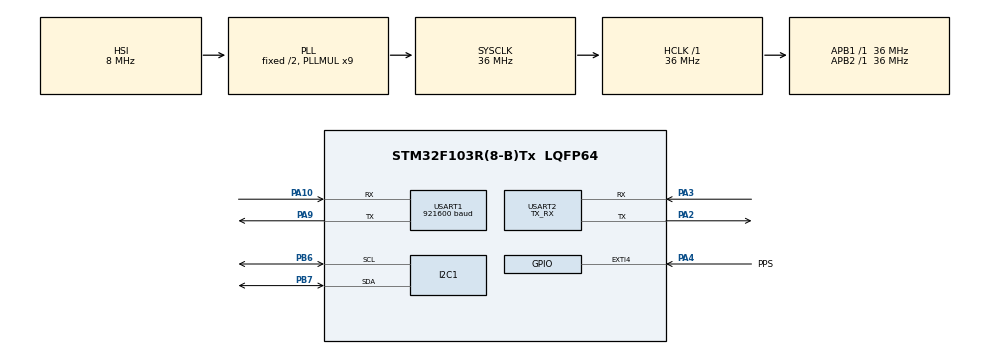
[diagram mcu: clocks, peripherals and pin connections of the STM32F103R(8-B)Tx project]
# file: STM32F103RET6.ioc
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I2C1.I2C_Mode=I2C_Fast
Mcu.Family=STM32F1
Mcu.Name=STM32F103R(8-B)Tx
Mcu.Package=LQFP64
NVIC.EXTI4_IRQn=true\:0\:0\:false\:false\:true\:true\:true\:true
NVIC.I2C1_EV_IRQn=true\:0\:0\:false\:false\:true\:true\:true\:true
NVIC.PriorityGroup=NVIC_PRIORITYGROUP_4
NVIC.USART2_IRQn=true\:0\:0\:false\:false\:true\:true\:true\:true
PA10.Mode=Asynchronous
PA10.Signal=USART1_RX
PA13.Mode=Serial_Wire
PA13.Signal=SYS_JTMS-SWDIO
PA14.Mode=Serial_Wire
PA14.Signal=SYS_JTCK-SWCLK
PA2.Mode=Asynchronous
PA2.Signal=USART2_TX
PA3.Mode=Asynchronous
PA3.Signal=USART2_RX
PA4.GPIO_Label=PPS
PA4.GPIO_PuPd=GPIO_PULLUP
PA4.Signal=GPXTI4
PA9.Mode=Asynchronous
PA9.Signal=USART1_TX
PB6.Mode=I2C
PB6.Signal=I2C1_SCL
PB7.Mode=I2C
PB7.Signal=I2C1_SDA
ProjectManager.HeapSize=0x200
ProjectManager.StackSize=0x400
ProjectManager.TargetToolchain=MDK-ARM V5.32
RCC.AHBFreq_Value=36000000
RCC.APB1Freq_Value=36000000
RCC.APB1TimFreq_Value=36000000
RCC.APB2Freq_Value=36000000
RCC.APB2TimFreq_Value=36000000
RCC.HCLKFreq_Value=36000000
RCC.PLLMUL=RCC_PLL_MUL9
RCC.SYSCLKFreq_VALUE=36000000
RCC.SYSCLKSource=RCC_SYSCLKSOURCE_PLLCLK
RCC.USBFreq_Value=36000000
USART1.BaudRate=921600
USART1.Mode=MODE_TX_RX
USART1.VirtualMode=VM_ASYNC
USART2.Mode=MODE_TX_RX
USART2.VirtualMode=VM_ASYNC
board=NUCLEO-F103RB

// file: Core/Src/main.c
/* USER CODE BEGIN Header */
/**
  ******************************************************************************
  * @file           : main.c
  * @brief          : Main program body
  ******************************************************************************
  * @attention
  *
  * Copyright (c) 2025 STMicroelectronics.
  * All rights reserved.
  *
  * This software is licensed under terms that can be found in the LICENSE file
  * in the root directory of this software component.
  * If no LICENSE file comes with this software, it is provided AS-IS.
  *
  ******************************************************************************
  */
/* USER CODE END Header */
#include "main.h"

/* USER CODE BEGIN Includes */
#include "string.h"
#include "stm32f1xx_hal.h"
#include "stm32f1xx_hal_uart.h"
#include "stm32f1xx_hal_i2c.h"
#include "mpu6050.h"
#include "loop_profiler.h"
#include "gps_time.h"
#include "nmea_min.h"
#include <stdint.h>
#include <stdio.h>
/* USER CODE END Includes */

I2C_HandleTypeDef hi2c1;

UART_HandleTypeDef huart1;
UART_HandleTypeDef huart2;

/* USER CODE BEGIN PV */
MPU6050_Device g_mpu;
GpsTime gps_time;
static uint8_t uart2_rx;
static char nmea_buf[128];
static volatile uint16_t nmea_len = 0;
/* USER CODE END PV */

void SystemClock_Config(void);
static void MX_GPIO_Init(void);
static void MX_USART1_UART_Init(void);
static void MX_I2C1_Init(void);
static void MX_USART2_UART_Init(void);

/* USER CODE BEGIN 0 */
static void uart_broadcast(const char *text)
{
  if (huart1.Instance != NULL) {
    (void)HAL_UART_Transmit(&huart1, (uint8_t*)text, strlen(text), 200);
  }
  if (huart2.Instance != NULL) {
    (void)HAL_UART_Transmit(&huart2, (uint8_t*)text, strlen(text), 200);
  }
}

/* USER CODE END 0 */

int main(void)
{

  /* MCU Configuration--------------------------------------------------------*/

  /* Reset of all peripherals, Initializes the Flash interface and the Systick. */
  HAL_Init();

  /* Configure the system clock */
  SystemClock_Config();

  /* Initialize all configured peripherals */
  MX_GPIO_Init();
  MX_USART1_UART_Init();
  MX_I2C1_Init();
  MX_USART2_UART_Init();
  /* USER CODE BEGIN 2 */
  /* Using HAL_GetTick() for time since boot; no counter needed */
  char msg[192];
  char boot[160];
  snprintf(boot, sizeof(boot),
           "\r\nBOOT sys=%lu Hz hclk=%lu Hz pclk1=%lu Hz pclk2=%lu Hz\r\n",
           (unsigned long)HAL_RCC_GetSysClockFreq(),
           (unsigned long)HAL_RCC_GetHCLKFreq(),
           (unsigned long)HAL_RCC_GetPCLK1Freq(),
           (unsigned long)HAL_RCC_GetPCLK2Freq());
  uart_broadcast(boot);

  /* Initialize loop profiler for 100 Hz (10000 us) */
  LoopProfiler profiler;
  loop_profiler_init(&profiler, 10000u);
  gps_time_init(&gps_time);
  /* Enable gradual delay compensation for better PPS-NMEA correlation */
  gps_time_enable_delay_compensation(&gps_time, true);
  /* Start UART2 RX interrupt for NMEA (GPGGA) */
  HAL_UART_Receive_IT(&huart2, &uart2_rx, 1);
  for (uint8_t a = 0x03; a <= 0x77; a++) {
    if (HAL_I2C_IsDeviceReady(&hi2c1, a<<1, 1, 10) == HAL_OK) {
      sprintf(msg, "Found I2C addr 0x%02X\r\n", a);
      uart_broadcast(msg);
    }
  }
  /* If I2C1 is enabled/configured by CubeMX, try to detect MPU */
#ifdef HAL_I2C_MODULE_ENABLED
  if (mpu6050_detect(&g_mpu, &hi2c1) == HAL_OK)
  {
    (void)mpu6050_wake(&g_mpu);
    /* Allow clock to stabilize */
    HAL_Delay(100);
    /* Configure DLPF=3 (~44 Hz accel/gyro BW) and 100 Hz sample rate */
    (void)mpu6050_configure(&g_mpu,
                            MPU6050_ACCEL_FS_2G,
                            MPU6050_GYRO_FS_250DPS,
                            3, /* dlpf_cfg */
                            9  /* smplrt_div */);
    /* Discard first sample after wake/config */
    int16_t dx, dy, dz, dt, dgx, dgy, dgz;
    (void)mpu6050_read_raw(&g_mpu, &dx, &dy, &dz, &dt, &dgx, &dgy, &dgz);
    HAL_Delay(10);
    sprintf(msg, "MPU detected at 0x%02X\r\n", (unsigned)(g_mpu.address >> 1));
    uart_broadcast(msg);
  }
  else
  {
    sprintf(msg, "MPU not detected\r\n");
    uart_broadcast(msg);
  }
#else
  sprintf(msg, "I2C not enabled. Configure I2C1 in CubeMX.\r\n");
  uart_broadcast(msg);
#endif
  /* USER CODE END 2 */

  /* Infinite loop */
  while (1)
  {

    /* USER CODE BEGIN 3 */
    float ax, ay, az, t, gx, gy, gz;
    uint32_t now = HAL_GetTick();
    unsigned long sec = now / 1000UL;
    unsigned long ms  = now % 1000UL;
#ifdef HAL_I2C_MODULE_ENABLED
    loop_profiler_begin(&profiler);
    int64_t gps_sec; uint32_t gps_us; bool gps_ok = gps_time_now(&gps_time, &gps_sec, &gps_us);
    if (mpu6050_read_f(&g_mpu, &ax, &ay, &az, &t, &gx, &gy, &gz) == HAL_OK)
    {
      GpsTimeState st = gps_time_get_state(&gps_time);
      const char *st_str = gps_time_state_str(st);
      uint32_t delay_us = gps_time_get_pps_nmea_delay_us(&gps_time);
      if (gps_ok) {
        snprintf(msg, sizeof(msg), "[CPU %lu.%03lu s | GPST %lld.%06u | %s | Delay:%uus] AX:%.3f AY:%.3f AZ:%.3f TEMP:%.2f C GX:%.2f GY:%.2f GZ:%.2f\r\n",
                 sec, ms, (long long)gps_sec, (unsigned)gps_us, st_str, delay_us,
                 ax, ay, az, t, gx, gy, gz);
      } else {
        snprintf(msg, sizeof(msg), "[CPU %lu.%03lu s | GPST ----.------ | %s | Delay:%uus] AX:%.3f AY:%.3f AZ:%.3f TEMP:%.2f GX:%.2f GY:%.2f GZ:%.2f\r\n",
                 sec, ms, st_str, delay_us, ax, ay, az, t, gx, gy, gz);
      }
    }
    else
    {
      snprintf(msg, sizeof(msg), "[CPU %lu.%03lu s] I2C read error\r\n", sec, ms);
      uint32_t err = HAL_I2C_GetError(&hi2c1);
      snprintf(msg, sizeof(msg), "[CPU %lu.%03lu s] I2C error=0x%08lX\r\n", sec, ms, (unsigned long)err);
      uart_broadcast(msg);
    }
    loop_profiler_end(&profiler);

#else
    sprintf(msg, "[%lu.%03lu s] I2C not enabled\r\n", sec, ms);
#endif
    uart_broadcast(msg);

    /* Every 100 samples, print loop timing stats */
    uint32_t min_us, avg_us, max_us, last_us, slack_us; float load_pct;
    uint32_t cnt = loop_profiler_get_stats_us(&profiler, &min_us, &avg_us, &max_us, &last_us, &slack_us, &load_pct);
    if ((cnt % 100u) == 0u && cnt != 0u) {
      snprintf(msg, sizeof(msg), "loop_us min/avg/max/last=%u/%u/%u/%u, slack=%u, load=%.1f%%\r\n",
               min_us, avg_us, max_us, last_us, slack_us, load_pct);
      uart_broadcast(msg);
    }
  }
  /* USER CODE END 3 */
}

void SystemClock_Config(void)
{
  RCC_OscInitTypeDef RCC_OscInitStruct = {0};
  RCC_ClkInitTypeDef RCC_ClkInitStruct = {0};

  /** Initializes the RCC Oscillators according to the specified parameters
  * in the RCC_OscInitTypeDef structure.
  */
  RCC_OscInitStruct.OscillatorType = RCC_OSCILLATORTYPE_HSI;
  RCC_OscInitStruct.HSIState = RCC_HSI_ON;
  RCC_OscInitStruct.HSICalibrationValue = RCC_HSICALIBRATION_DEFAULT;
  RCC_OscInitStruct.PLL.PLLState = RCC_PLL_ON;
  RCC_OscInitStruct.PLL.PLLSource = RCC_PLLSOURCE_HSI_DIV2;
  RCC_OscInitStruct.PLL.PLLMUL = RCC_PLL_MUL9;
  if (HAL_RCC_OscConfig(&RCC_OscInitStruct) != HAL_OK)
  {
    Error_Handler();
  }

  /** Initializes the CPU, AHB and APB buses clocks
  */
  RCC_ClkInitStruct.ClockType = RCC_CLOCKTYPE_HCLK|RCC_CLOCKTYPE_SYSCLK
                              |RCC_CLOCKTYPE_PCLK1|RCC_CLOCKTYPE_PCLK2;
  RCC_ClkInitStruct.SYSCLKSource = RCC_SYSCLKSOURCE_PLLCLK;
  RCC_ClkInitStruct.AHBCLKDivider = RCC_SYSCLK_DIV1;
  RCC_ClkInitStruct.APB1CLKDivider = RCC_HCLK_DIV1;
  RCC_ClkInitStruct.APB2CLKDivider = RCC_HCLK_DIV1;

  if (HAL_RCC_ClockConfig(&RCC_ClkInitStruct, FLASH_LATENCY_1) != HAL_OK)
  {
    Error_Handler();
  }
}

static void MX_I2C1_Init(void)
{

  hi2c1.Instance = I2C1;
  hi2c1.Init.ClockSpeed = 400000;
  hi2c1.Init.DutyCycle = I2C_DUTYCYCLE_2;
  hi2c1.Init.OwnAddress1 = 0;
  hi2c1.Init.AddressingMode = I2C_ADDRESSINGMODE_7BIT;
  hi2c1.Init.DualAddressMode = I2C_DUALADDRESS_DISABLE;
  hi2c1.Init.OwnAddress2 = 0;
  hi2c1.Init.GeneralCallMode = I2C_GENERALCALL_DISABLE;
  hi2c1.Init.NoStretchMode = I2C_NOSTRETCH_DISABLE;
  if (HAL_I2C_Init(&hi2c1) != HAL_OK)
  {
    Error_Handler();
  }

}

static void MX_USART1_UART_Init(void)
{

  huart1.Instance = USART1;
  huart1.Init.BaudRate = 921600;
  huart1.Init.WordLength = UART_WORDLENGTH_8B;
  huart1.Init.StopBits = UART_STOPBITS_1;
  huart1.Init.Parity = UART_PARITY_NONE;
  huart1.Init.Mode = UART_MODE_TX_RX;
  huart1.Init.HwFlowCtl = UART_HWCONTROL_NONE;
  huart1.Init.OverSampling = UART_OVERSAMPLING_16;
  if (HAL_UART_Init(&huart1) != HAL_OK)
  {
    Error_Handler();
  }

}

static void MX_USART2_UART_Init(void)
{

  huart2.Instance = USART2;
  huart2.Init.BaudRate = 115200;
  huart2.Init.WordLength = UART_WORDLENGTH_8B;
  huart2.Init.StopBits = UART_STOPBITS_1;
  huart2.Init.Parity = UART_PARITY_NONE;
  huart2.Init.Mode = UART_MODE_TX_RX;
  huart2.Init.HwFlowCtl = UART_HWCONTROL_NONE;
  huart2.Init.OverSampling = UART_OVERSAMPLING_16;
  if (HAL_UART_Init(&huart2) != HAL_OK)
  {
    Error_Handler();
  }

}

static void MX_GPIO_Init(void)
{
  GPIO_InitTypeDef GPIO_InitStruct = {0};

  /* GPIO Ports Clock Enable */
  __HAL_RCC_GPIOA_CLK_ENABLE();
  __HAL_RCC_GPIOB_CLK_ENABLE();

  /*Configure GPIO pin : PPS_Pin */
  GPIO_InitStruct.Pin = pps_Pin;
  GPIO_InitStruct.Mode = GPIO_MODE_IT_RISING;
  GPIO_InitStruct.Pull = GPIO_PULLUP;
  HAL_GPIO_Init(pps_GPIO_Port, &GPIO_InitStruct);

  /* EXTI interrupt init*/
  HAL_NVIC_SetPriority(EXTI4_IRQn, 0, 0);
  HAL_NVIC_EnableIRQ(EXTI4_IRQn);

}

/* USER CODE BEGIN 4 */
void HAL_GPIO_EXTI_Callback(uint16_t GPIO_Pin)
{
  if (GPIO_Pin == GPIO_PIN_4) { /* PA4 PPS */
    gps_time_on_pps_isr(&gps_time);
  }
}
/* Add UART2 RX complete callback to parse NMEA and arm UTC for next PPS */
void HAL_UART_RxCpltCallback(UART_HandleTypeDef *huart)
{
  if (huart->Instance == USART2) {
    uint8_t byte = uart2_rx;
    if (nmea_len < (uint16_t)(sizeof(nmea_buf) - 1)) {
      nmea_buf[nmea_len++] = (char)byte;
    } else {
      nmea_len = 0; /* overflow, reset */
    }
    if (byte == '\n') {
      if (nmea_len > 0) nmea_buf[nmea_len] = '\0';
      if (nmea_len > 0 && nmea_buf[nmea_len-1] == '\r') nmea_buf[nmea_len-1] = '\0';

      if (nmea_len > 10 && nmea_buf[0] == '$') {
        int hh, mm, ss, us;
        int dd, mm_date, yy;

        /* Try RMC first (has date info for seconds of week) */
        if (nmea_parse_rmc_time_date(nmea_buf, &hh, &mm, &ss, &us, &dd, &mm_date, &yy)) {
          int day_of_week = calculate_day_of_week(dd, mm_date, yy);
          int64_t sec_of_day = (int64_t)hh * 3600 + (int64_t)mm * 60 + (int64_t)ss;
          int64_t sec_of_week = sec_of_day + (int64_t)(day_of_week - 1) * 86400;
          /* Convert UTC to GPS time (+18 seconds) */
          sec_of_week += 18;
          /* Handle week wraparound if needed */
          if (sec_of_week >= 604800) {
            sec_of_week -= 604800;
          }
          gps_time_set_utc_with_correlation(&gps_time, sec_of_week);
        }
        /* Fallback to GGA (seconds of day only - skip if no date available) */
        else if (nmea_parse_gga_time(nmea_buf, &hh, &mm, &ss, &us)) {
          /* Only use GGA if we already have a valid GPS time established */
          GpsTimeState st = gps_time_get_state(&gps_time);
          if (st == GPS_TIME_UTC_LOCKED || st == GPS_TIME_PPS_ONLY) {
            /* Keep current seconds of week, just update the time portion */
            int64_t current_sec_of_week = 0;
            uint32_t current_us = 0;
            if (gps_time_now(&gps_time, &current_sec_of_week, &current_us)) {
              int64_t current_day_sec = current_sec_of_week % 86400;
              int64_t new_day_sec = (int64_t)hh * 3600 + (int64_t)mm * 60 + (int64_t)ss;
              /* Convert UTC to GPS time (+18 seconds) */
              new_day_sec += 18;
              /* Handle day wraparound if needed */
              if (new_day_sec >= 86400) {
                new_day_sec -= 86400;
              }
              int64_t day_diff = new_day_sec - current_day_sec;
              int64_t new_sec_of_week = current_sec_of_week + day_diff;
              /* Wrap around if needed */
              if (new_sec_of_week < 0) new_sec_of_week += 604800;
              if (new_sec_of_week >= 604800) new_sec_of_week -= 604800;
              gps_time_set_utc_with_correlation(&gps_time, new_sec_of_week);
            }
          }
        }
      }
      nmea_len = 0;
    }
    HAL_UART_Receive_IT(&huart2, &uart2_rx, 1);
  }
}
/* USER CODE END 4 */

void Error_Handler(void)
{
  __disable_irq();
  while (1)
  {
  }
}
